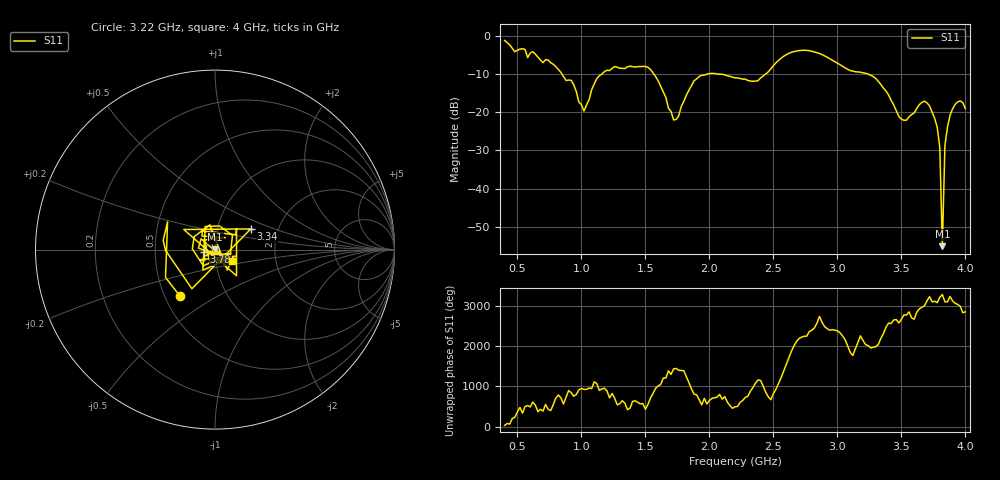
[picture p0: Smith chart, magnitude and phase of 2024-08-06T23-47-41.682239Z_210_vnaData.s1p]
!Created with skrf (http://scikit-rf.org).
# Hz S RI R 50.0
!freq ReS11 ImS11
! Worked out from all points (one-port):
!   181 points, 400 MHz to 4 GHz, reference 50 ohm
!   lowest |S11| = -55.1 dB at 3.82 GHz (marker M1), VSWR 1.00, Z = 50.1 + j0.0992 ohm
!   |S11| at or under -10 dB: 1.566 GHz to 1.986 GHz (420.1 MHz wide, 23.7 % of centre); 2.063 GHz to 2.439 GHz (376 MHz wide, 16.7 % of centre); 3.24 GHz to end of sweep (the widest 3 of 4)
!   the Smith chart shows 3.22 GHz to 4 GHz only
!   S11 on the Smith chart (normalised r, x): 3.22 GHz: 0.60, -0.35; 3.34 GHz: 1.45, +0.35; 3.78 GHz: 0.88, -0.03; 4 GHz: 1.20, -0.15
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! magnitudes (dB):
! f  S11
! 400 MHz  -1.2
! 740 MHz  -6.3
! 860 MHz  -10.7
! 920 MHz  -11.6
! 1.02 GHz  -19.7
! 1.12 GHz  -11.2
! 1.3 GHz  -8.5
! 1.52 GHz  -8.2
! 1.6 GHz  -11.8
! 1.72 GHz  -22.0
! 1.76 GHz  -21.0
! 1.92 GHz  -10.7
! 2.2 GHz  -11.0
! 2.38 GHz  -11.7
! 2.66 GHz  -4.1
! 3.1 GHz  -9.1
! 3.22 GHz  -9.8
! 3.34 GHz  -12.8
! 3.48 GHz  -21.1
! 3.56 GHz  -21.2
! 3.68 GHz  -17.1
! 3.78 GHz  -24.0
! 3.8 GHz  -29.3
! 3.82 GHz  -55.1
! 3.84 GHz  -28.8
! 3.86 GHz  -23.9
! 3.92 GHz  -18.0
! 4 GHz  -19.1
